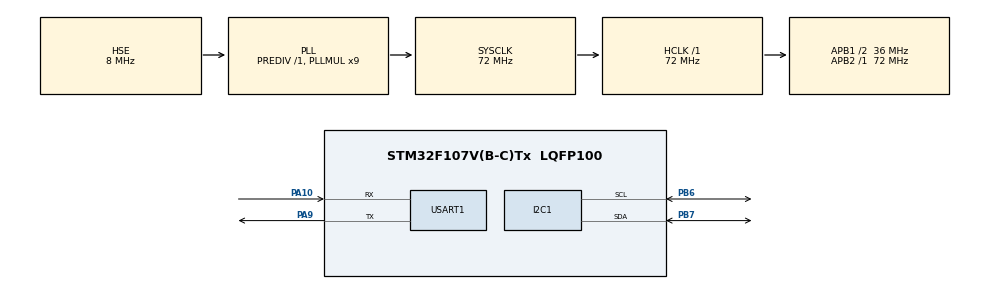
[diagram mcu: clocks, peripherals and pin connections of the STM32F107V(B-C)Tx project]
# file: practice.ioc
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I2C1.I2C_Mode=I2C_Fast
Mcu.Family=STM32F1
Mcu.Name=STM32F107V(B-C)Tx
Mcu.Package=LQFP100
NVIC.PriorityGroup=NVIC_PRIORITYGROUP_4
NVIC.TIM6_IRQn=true\:0\:0\:false\:false\:true\:true\:true
NVIC.USART1_IRQn=true\:0\:0\:false\:false\:true\:true\:true
OSC_IN.Mode=HSE-External-Oscillator
OSC_IN.Signal=RCC_OSC_IN
OSC_OUT.Mode=HSE-External-Oscillator
OSC_OUT.Signal=RCC_OSC_OUT
PA10.Mode=Asynchronous
PA10.Signal=USART1_RX
PA9.Mode=Asynchronous
PA9.Signal=USART1_TX
PB6.Mode=I2C
PB6.Signal=I2C1_SCL
PB7.Mode=I2C
PB7.Signal=I2C1_SDA
ProjectManager.HeapSize=0x200
ProjectManager.StackSize=0x400
ProjectManager.TargetToolchain=STM32CubeIDE
RCC.AHBFreq_Value=72000000
RCC.APB1CLKDivider=RCC_HCLK_DIV2
RCC.APB1Freq_Value=36000000
RCC.APB1TimFreq_Value=72000000
RCC.APB2Freq_Value=72000000
RCC.APB2TimFreq_Value=72000000
RCC.HCLKFreq_Value=72000000
RCC.PLLMUL=RCC_PLL_MUL9
RCC.PLLSourceVirtual=RCC_PLLSOURCE_HSE
RCC.SYSCLKFreq_VALUE=72000000
RCC.SYSCLKSource=RCC_SYSCLKSOURCE_PLLCLK
RCC.USBFreq_Value=48000000
TIM6.Period=10000-1
TIM6.Prescaler=7200 - 1
USART1.VirtualMode=VM_ASYNC
VP_SYS_VS_ND.Mode=No_Debug
VP_TIM6_VS_ClockSourceINT.Mode=Enable_Timer
board=custom

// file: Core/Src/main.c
/* USER CODE BEGIN Header */
/**
  ******************************************************************************
  * @file           : main.c
  * @brief          : Main program body
  ******************************************************************************
  * @attention
  *
  * <h2><center>&copy; Copyright (c) 2021 STMicroelectronics.
  * All rights reserved.</center></h2>
  *
  * This software component is licensed by ST under BSD 3-Clause license,
  * the "License"; You may not use this file except in compliance with the
  * License. You may obtain a copy of the License at:
  *                        opensource.org/licenses/BSD-3-Clause
  *
  ******************************************************************************
  */
/* USER CODE END Header */
#include "main.h"

/* USER CODE BEGIN Includes */
#include "string.h"
#include "module_uart.h"
#include "mpu9250.h"
#include <stdbool.h>
/* USER CODE END Includes */

/* USER CODE BEGIN PTD */
typedef struct __MPU9250{
    I2C_HandleTypeDef i2c;
    uint8_t gyro_address;
    uint8_t meg_address;
}MPU9250;
/* USER CODE END PTD */

/* USER CODE BEGIN PD */
#define MPU9250_ADDRESS (0x68 << 1)
/* USER CODE END PD */

I2C_HandleTypeDef hi2c1;

TIM_HandleTypeDef htim6;

UART_HandleTypeDef huart1;

void SystemClock_Config(void);
static void MX_GPIO_Init(void);
static void MX_USART1_UART_Init(void);
static void MX_I2C1_Init(void);
static void MX_TIM6_Init(void);

/* USER CODE BEGIN 0 */
uint8_t rx_data;
uart_t uart;
bool send_flag = false;

void gyro_who_am_i() //gyro action check
{
	uint8_t i2c_data[2] = {0x75, 0x00};
	uint8_t recvData[1] = {0,};

	uint8_t uartData[5] = {0,};

	HAL_I2C_Master_Transmit(&hi2c1, MPU9250_ADDRESS, &i2c_data[0], 1, 50);
	HAL_I2C_Master_Receive(&hi2c1, MPU9250_ADDRESS, recvData, 1, 50);
	sprintf((char *)uartData, "0x%x\n", recvData[0]);
	HAL_UART_Transmit(&huart1, uartData, 5, 50);
}

//use gyro
float f_gyx, f_gyy,f_gyz;
int32_t getmpuaccx,getmpuaccy,getmpuaccz;

void Gyro_Writebyte(MPU9250 * I2C,uint8_t register_address,uint8_t data){
    uint8_t Trans[2]={register_address, data};
    HAL_I2C_Master_Transmit(&(I2C->i2c), I2C->gyro_address,Trans,2,10);
}

uint8_t Gyro_Readbyte(MPU9250 * I2C,uint8_t register_address){
    uint8_t Trans[1]={register_address};
    uint8_t Receive[1];
    HAL_I2C_Master_Transmit(&(I2C->i2c), I2C->gyro_address,Trans,1,10);
    HAL_I2C_Master_Receive(&(I2C->i2c),I2C->gyro_address,Receive,1,10);

    return Receive[0];
}

void init_MPU9250(MPU9250* mpu9250){
    Gyro_Writebyte(mpu9250,PWR_MGMT_1,0x00);

    HAL_Delay(100);
    Gyro_Writebyte(mpu9250,PWR_MGMT_1,0x01);
    Gyro_Writebyte(mpu9250,SMPLRT_DIV,0X07);

    Gyro_Writebyte(mpu9250,GYRO_CONFIG,0x08);
    Gyro_Writebyte(mpu9250,INT_PIN_CFG,0X02);
    Gyro_Writebyte(mpu9250,ACCEL_CONFIG,0x08);
}

void MPU_read_acc_gyro(MPU9250* mpu9250){
    uint8_t databuf[14];
    int16_t ax,ay,az;
    int16_t gx,gy,gz;

    float Axyz[30] = {0,};
    float Gxyz[30] = {0,};

    HAL_I2C_Mem_Read(&(mpu9250->i2c),mpu9250->gyro_address,0x3b,I2C_MEMADD_SIZE_8BIT,databuf,14,10);
    ax=(((int16_t)databuf[0]<<8)|databuf[1]); Axyz[0] = (double) ax / 16384; //accelerometer X-axis value
    ay=(((int16_t)databuf[2]<<8)|databuf[3]); Axyz[1] = (double) ay / 16384; //accelerometer Y-axis value
    az=(((int16_t)databuf[4]<<8)|databuf[5]); Axyz[2] = (double) az / 16384; //accelerometer Z-axis value

    gx=(((int16_t)databuf[8]<<8)|databuf[9]); Gxyz[0] = (double) gx * 250 / 32768; //gyroscope X-axis value
    gy=(((int16_t)databuf[10]<<8)|databuf[11]); Gxyz[1] = (double) gy * 250 / 32768; //gyroscope Y-axis value
    gz=(((int16_t)databuf[12]<<8)|databuf[13]); Gxyz[2] = (double) gz * 250 / 32768; //gyroscope Z-axis value

    sprintf((char *)Axyz, "Accel_x: %.1f, y: %.1f, z: %.1f\n", Axyz[0], Axyz[1], Axyz[2]);
    HAL_UART_Transmit(&huart1, Axyz, strlen((char*)Axyz), 10);

    sprintf((char *)Gxyz, "Giro_x: %.1f, y: %.1f, z: %.1f\n", Gxyz[0], Gxyz[1], Gxyz[2]);
    HAL_UART_Transmit(&huart1, Gxyz, strlen((char*)Gxyz), 10);
}

void MPU_read_mag(MPU9250* mpu9250){
	uint8_t databuf[6];
	int16_t mx,my,mz;
	float Mxyz[30] = {0,};

	HAL_I2C_Master_Transmit(AK8963_ADDRESS, AK8963_CNTL, 0x01, 1, 10); //enable the magnetometer
	HAL_Delay(10);

	HAL_I2C_Master_Receive(AK8963_ADDRESS, AK8963_XOUT_L, databuf, 6, 10);

	mx = (((int16_t)databuf[1]) << 8) | databuf[0];
	my = (((int16_t)databuf[3]) << 8) | databuf[2];
	mz = (((int16_t)databuf[5]) << 8) | databuf[4];

	Mxyz[0] = (double) mx * 1200 / 4096;
	Mxyz[1] = (double) my * 1200 / 4096;
	Mxyz[2] = (double) mz * 1200 / 4096;

	sprintf((char *)Mxyz, "Mag_x: %.1f, y: %.1f, z: %.1f\n", Mxyz[0], Mxyz[1], Mxyz[2]);
	HAL_UART_Transmit(&huart1, Mxyz, strlen((char*)Mxyz), 10);
}

/* USER CODE END 0 */

int main(void)
{
  /* USER CODE BEGIN 1 */
	uint8_t data;
	MPU9250 mpu9250={hi2c1,MPU9250_ADDRESS,AK8963_ADDRESS};
  /* USER CODE END 1 */

  /* MCU Configuration--------------------------------------------------------*/

  /* Reset of all peripherals, Initializes the Flash interface and the Systick. */
  HAL_Init();

  /* USER CODE BEGIN Init */
  init_uart(&uart);
  init_MPU9250(&mpu9250);
  /* USER CODE END Init */

  /* Configure the system clock */
  SystemClock_Config();

  /* Initialize all configured peripherals */
  MX_GPIO_Init();
  MX_USART1_UART_Init();
  MX_I2C1_Init();
  MX_TIM6_Init();
  /* USER CODE BEGIN 2 */
  HAL_UART_Receive_IT(&huart1, &rx_data, 1);
  /* USER CODE END 2 */

  /* Infinite loop */
  while (1)
  {

    /* USER CODE BEGIN 3 */
	  if (isEmpty(&uart) == 0) {
		  data = pop(&uart);
		  if(data == '1')
			  gyro_who_am_i();
	  }

	  if(send_flag == true) //1초마다 업데이트
	  {
		  MPU_read_acc_gyro(&mpu9250);
		  MPU_read_mag(&mpu9250);
		  send_flag = false;
	  }

  }
  /* USER CODE END 3 */
}

void SystemClock_Config(void)
{
  RCC_OscInitTypeDef RCC_OscInitStruct = {0};
  RCC_ClkInitTypeDef RCC_ClkInitStruct = {0};

  /** Initializes the RCC Oscillators according to the specified parameters
  * in the RCC_OscInitTypeDef structure.
  */
  RCC_OscInitStruct.OscillatorType = RCC_OSCILLATORTYPE_HSE;
  RCC_OscInitStruct.HSEState = RCC_HSE_ON;
  RCC_OscInitStruct.HSEPredivValue = RCC_HSE_PREDIV_DIV1;
  RCC_OscInitStruct.HSIState = RCC_HSI_ON;
  RCC_OscInitStruct.Prediv1Source = RCC_PREDIV1_SOURCE_HSE;
  RCC_OscInitStruct.PLL.PLLState = RCC_PLL_ON;
  RCC_OscInitStruct.PLL.PLLSource = RCC_PLLSOURCE_HSE;
  RCC_OscInitStruct.PLL.PLLMUL = RCC_PLL_MUL9;
  RCC_OscInitStruct.PLL2.PLL2State = RCC_PLL_NONE;
  if (HAL_RCC_OscConfig(&RCC_OscInitStruct) != HAL_OK)
  {
    Error_Handler();
  }
  /** Initializes the CPU, AHB and APB buses clocks
  */
  RCC_ClkInitStruct.ClockType = RCC_CLOCKTYPE_HCLK|RCC_CLOCKTYPE_SYSCLK
                              |RCC_CLOCKTYPE_PCLK1|RCC_CLOCKTYPE_PCLK2;
  RCC_ClkInitStruct.SYSCLKSource = RCC_SYSCLKSOURCE_PLLCLK;
  RCC_ClkInitStruct.AHBCLKDivider = RCC_SYSCLK_DIV1;
  RCC_ClkInitStruct.APB1CLKDivider = RCC_HCLK_DIV2;
  RCC_ClkInitStruct.APB2CLKDivider = RCC_HCLK_DIV1;

  if (HAL_RCC_ClockConfig(&RCC_ClkInitStruct, FLASH_LATENCY_2) != HAL_OK)
  {
    Error_Handler();
  }
  /** Configure the Systick interrupt time
  */
  __HAL_RCC_PLLI2S_ENABLE();
}

static void MX_I2C1_Init(void)
{

  hi2c1.Instance = I2C1;
  hi2c1.Init.ClockSpeed = 400000;
  hi2c1.Init.DutyCycle = I2C_DUTYCYCLE_2;
  hi2c1.Init.OwnAddress1 = 0;
  hi2c1.Init.AddressingMode = I2C_ADDRESSINGMODE_7BIT;
  hi2c1.Init.DualAddressMode = I2C_DUALADDRESS_DISABLE;
  hi2c1.Init.OwnAddress2 = 0;
  hi2c1.Init.GeneralCallMode = I2C_GENERALCALL_DISABLE;
  hi2c1.Init.NoStretchMode = I2C_NOSTRETCH_DISABLE;
  if (HAL_I2C_Init(&hi2c1) != HAL_OK)
  {
    Error_Handler();
  }

}

static void MX_TIM6_Init(void)
{

  TIM_MasterConfigTypeDef sMasterConfig = {0};

  htim6.Instance = TIM6;
  htim6.Init.Prescaler = 7200 - 1;
  htim6.Init.CounterMode = TIM_COUNTERMODE_UP;
  htim6.Init.Period = 10000-1;
  htim6.Init.AutoReloadPreload = TIM_AUTORELOAD_PRELOAD_DISABLE;
  if (HAL_TIM_Base_Init(&htim6) != HAL_OK)
  {
    Error_Handler();
  }
  sMasterConfig.MasterOutputTrigger = TIM_TRGO_RESET;
  sMasterConfig.MasterSlaveMode = TIM_MASTERSLAVEMODE_DISABLE;
  if (HAL_TIMEx_MasterConfigSynchronization(&htim6, &sMasterConfig) != HAL_OK)
  {
    Error_Handler();
  }

}

static void MX_USART1_UART_Init(void)
{

  huart1.Instance = USART1;
  huart1.Init.BaudRate = 115200;
  huart1.Init.WordLength = UART_WORDLENGTH_8B;
  huart1.Init.StopBits = UART_STOPBITS_1;
  huart1.Init.Parity = UART_PARITY_NONE;
  huart1.Init.Mode = UART_MODE_TX_RX;
  huart1.Init.HwFlowCtl = UART_HWCONTROL_NONE;
  huart1.Init.OverSampling = UART_OVERSAMPLING_16;
  if (HAL_UART_Init(&huart1) != HAL_OK)
  {
    Error_Handler();
  }

}

static void MX_GPIO_Init(void)
{

  /* GPIO Ports Clock Enable */
  __HAL_RCC_GPIOA_CLK_ENABLE();
  __HAL_RCC_GPIOB_CLK_ENABLE();

}

/* USER CODE BEGIN 4 */
void HAL_TIM_PeriodElapsedCallback(TIM_HandleTypeDef *htim)
{
  if(htim->Instance == TIM6) //1Hz
  {
	  send_flag = true;
  }
}

/*Interrupts RX Callback************************************************************/
void HAL_UART_RxCpltCallback(UART_HandleTypeDef *huart)
{
  if (huart->Instance == USART1) {
    push(&uart, rx_data);
    HAL_UART_Receive_IT(&huart1, &rx_data, 1);
  }
}
/* USER CODE END 4 */

void Error_Handler(void)
{
  __disable_irq();
  while (1)
  {
  }
}

/************************ (C) COPYRIGHT STMicroelectronics *****END OF FILE****/
